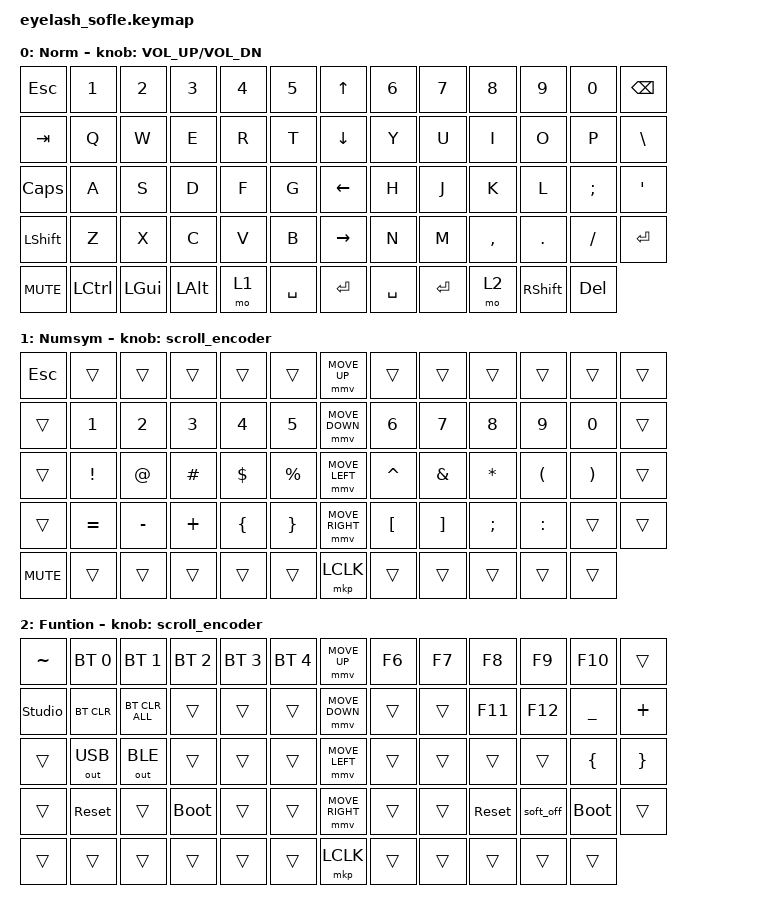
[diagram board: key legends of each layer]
#include <behaviors.dtsi>
#include <dt-bindings/zmk/bt.h>
#include <dt-bindings/zmk/keys.h>
#include <dt-bindings/zmk/mouse.h>
#include <dt-bindings/zmk/outputs.h>
#include <dt-bindings/zmk/rgb.h>

#include <input/processors.dtsi>

/*

   &mmv_input_listener {
       input-processors = <&zip_xy_scaler 2 1>;
   };

   &msc_input_listener {
       input-processors = <&zip_xy_scaler 2 1>;
   };

 */

#define ZMK_MOUSE_DEFAULT_MOVE_VAL 1200  // 600
#define ZMK_MOUSE_DEFAULT_SCRL_VAL 20    // 10


/ {
    behaviors {
        mmv {
            acceleration-exponent = <1>;      // 1
            time-to-max-speed-ms = <900>;    // 40
            delay-ms = <0>;                   // 0
        };

        msc {
            acceleration-exponent = <1>;      // 0
            time-to-max-speed-ms = <400>;      // 500
            delay-ms = <0>;                   //   10
        };
    };

    scroll_encoder: scroll_encoder {
        compatible = "zmk,behavior-sensor-rotate";
        #sensor-binding-cells = <0>;
        bindings = <&msc SCRL_DOWN>, <&msc SCRL_UP>;

        tap-ms = <30>;
    };

    keymap {
        compatible = "zmk,keymap";

         norm {
            bindings = <
&kp ESC     &kp N1     &kp N2        &kp N3        &kp N4  &kp N5       &kp UP_ARROW     &kp N6     &kp N7     &kp N8     &kp N9           &kp N0      &kp BACKSPACE
&kp TAB     &kp Q      &kp W         &kp E         &kp R   &kp T        &kp DOWN_ARROW   &kp Y      &kp U      &kp I      &kp O            &kp P       &kp BSLH
&kp CAPS    &kp A      &kp S         &kp D         &kp F   &kp G        &kp LEFT_ARROW   &kp H      &kp J      &kp K      &kp L            &kp SEMI    &kp APOS
&kp LSHFT   &kp Z      &kp X         &kp C         &kp V   &kp B        &kp RIGHT_ARROW  &kp N      &kp M      &kp COMMA  &kp DOT          &kp FSLH    &kp ENTER
&kp C_MUTE  &kp LCTRL  &kp LEFT_GUI  &kp LEFT_ALT  &mo 1   &kp SPACE    &kp ENTER        &kp SPACE  &kp ENTER  &mo 2      &kp RIGHT_SHIFT  &kp DELETE
            >;

            sensor-bindings = <&inc_dec_kp C_VOLUME_UP C_VOL_DN>;
            display-name = "Norm";
        };

        num_sym {
            bindings = <
&kp ESC     &trans     &trans        &trans        &trans       &trans          &mmv MOVE_UP     &trans          &trans       &trans       &trans      &trans       &trans
&trans      &kp N1     &kp N2        &kp N3        &kp N4       &kp N5          &mmv MOVE_DOWN   &kp N6          &kp N7       &kp N8       &kp N9      &kp N0       &trans
&trans      &kp EXCL   &kp AT        &kp HASH      &kp DLLR     &kp PRCNT       &mmv MOVE_LEFT   &kp CARET       &kp AMPS     &kp ASTRK    &kp LPAR    &kp RPAR     &trans
&trans      &kp EQUAL  &kp MINUS     &kp PLUS      &kp LBRC     &kp RBRC        &mmv MOVE_RIGHT  &kp LBKT        &kp RBKT     &kp SEMI     &kp COLON   &trans       &trans
&kp C_MUTE  &trans     &trans        &trans        &trans       &trans          &mkp LCLK        &trans          &trans       &trans       &trans      &trans
            >;

            display-name = "Numsym";
            sensor-bindings = <&scroll_encoder>;
        };

        fn{
            bindings = <
&kp TILDE  &bt BT_SEL 0  &bt BT_SEL 1    &bt BT_SEL 2  &bt BT_SEL 3  &bt BT_SEL 4    &mmv MOVE_UP     &kp F6  &kp F7  &kp F8      &kp F9     &kp F10      &trans
&studio_unlock      &bt BT_CLR    &bt BT_CLR_ALL  &trans        &trans        &trans          &mmv MOVE_DOWN   &trans  &trans  &kp F11     &kp F12    &kp UNDER    &kp PLUS
&trans     &out OUT_USB  &out OUT_BLE    &trans        &trans        &trans          &mmv MOVE_LEFT   &trans  &trans  &trans      &trans     &kp LBRC     &kp RBRC
&trans     &sys_reset    &trans          &bootloader   &trans        &trans          &mmv MOVE_RIGHT  &trans  &trans  &sys_reset  &soft_off  &bootloader  &trans
&trans     &trans        &trans          &trans        &trans        &trans          &mkp LCLK        &trans  &trans  &trans      &trans     &trans
            >;

            display-name = "Funtion";
            sensor-bindings = <&scroll_encoder>;
        };
    };
};
